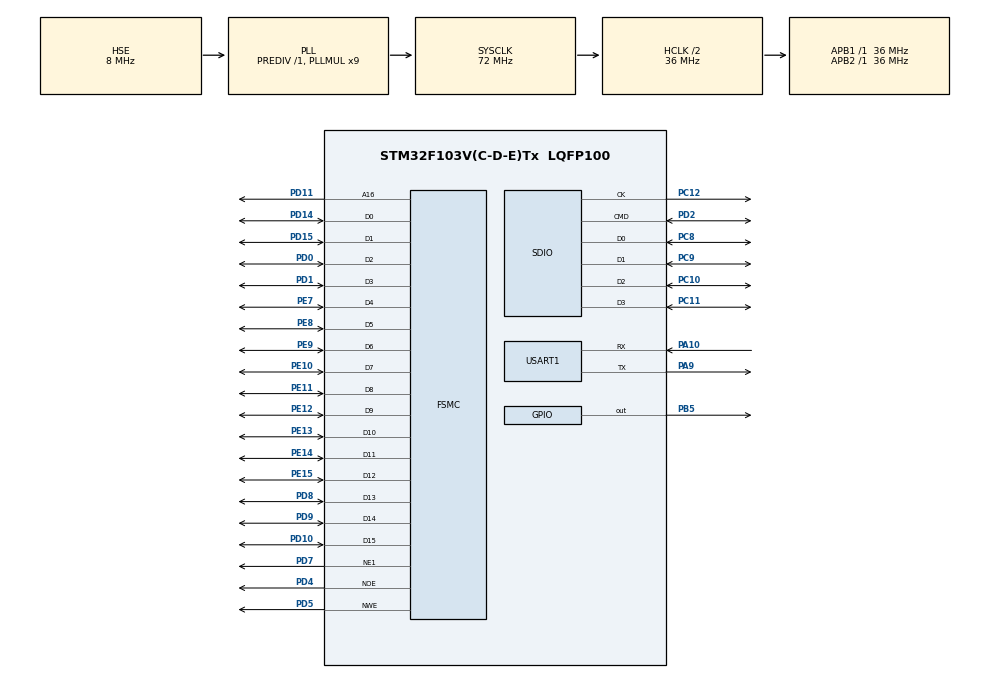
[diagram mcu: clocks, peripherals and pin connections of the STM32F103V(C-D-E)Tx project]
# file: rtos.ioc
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FATFS._CODE_PAGE=1252
FATFS._FS_NOFSINFO=3
FATFS._FS_TINY=0
FATFS._MAX_SS=2048
FATFS._MIN_SS=512
FATFS._USE_FASTSEEK=0
FREERTOS.Tasks01=defaultTask,0,128,StartDefaultTask,Default;TaskTFT,1,256,StartTaskTFT,Default;TaskFATFS,-3,1024,StartTaskFATFS,Default
FREERTOS.configTICK_RATE_HZ=100
FREERTOS.configTOTAL_HEAP_SIZE=40000
Mcu.Family=STM32F1
Mcu.Name=STM32F103V(C-D-E)Tx
Mcu.Package=LQFP100
NVIC.PriorityGroup=NVIC_PRIORITYGROUP_4
NVIC.RTC_IRQn=true\:5\:0\:false\:false\:true
NVIC.SDIO_IRQn=true\:5\:0\:false\:false\:true
NVIC.TIM7_IRQn=true\:0\:0\:false\:false\:true
NVIC.TimeBase=TIM7_IRQn
NVIC.TimeBaseIP=TIM7
NVIC.USART1_IRQn=true\:5\:0\:false\:false\:true
OSC_IN.Mode=HSE-External-Oscillator
OSC_IN.Signal=RCC_OSC_IN
OSC_OUT.Mode=HSE-External-Oscillator
OSC_OUT.Signal=RCC_OSC_OUT
PA10.Mode=Asynchronous
PA10.Signal=USART1_RX
PA9.Mode=Asynchronous
PA9.Signal=USART1_TX
PB5.Signal=GPIO_Output
PC10.Mode=SD_4_bits_Wide_bus
PC10.Signal=SDIO_D2
PC11.Mode=SD_4_bits_Wide_bus
PC11.Signal=SDIO_D3
PC12.Mode=SD_4_bits_Wide_bus
PC12.Signal=SDIO_CK
PC14-OSC32_IN.Mode=LSE-External-Oscillator
PC14-OSC32_IN.Signal=RCC_OSC32_IN
PC15-OSC32_OUT.Mode=LSE-External-Oscillator
PC15-OSC32_OUT.Signal=RCC_OSC32_OUT
PC8.Mode=SD_4_bits_Wide_bus
PC8.Signal=SDIO_D0
PC9.Mode=SD_4_bits_Wide_bus
PC9.Signal=SDIO_D1
PD0.Mode=16b-d1
PD0.Signal=FSMC_D2
PD1.Mode=16b-d1
PD1.Signal=FSMC_D3
PD10.Mode=16b-d1
PD10.Signal=FSMC_D15
PD11.Mode=A16_1
PD11.Signal=FSMC_A16
PD14.Mode=16b-d1
PD14.Signal=FSMC_D0
PD15.Mode=16b-d1
PD15.Signal=FSMC_D1
PD2.Mode=SD_4_bits_Wide_bus
PD2.Signal=SDIO_CMD
PD4.Mode=Lcd1
PD4.Signal=FSMC_NOE
PD5.Mode=Lcd1
PD5.Signal=FSMC_NWE
PD7.Mode=NorPsramChipSelect1_1
PD7.Signal=FSMC_NE1
PD8.Mode=16b-d1
PD8.Signal=FSMC_D13
PD9.Mode=16b-d1
PD9.Signal=FSMC_D14
PE10.Mode=16b-d1
PE10.Signal=FSMC_D7
PE11.Mode=16b-d1
PE11.Signal=FSMC_D8
PE12.Mode=16b-d1
PE12.Signal=FSMC_D9
PE13.Mode=16b-d1
PE13.Signal=FSMC_D10
PE14.Mode=16b-d1
PE14.Signal=FSMC_D11
PE15.Mode=16b-d1
PE15.Signal=FSMC_D12
PE7.Mode=16b-d1
PE7.Signal=FSMC_D4
PE8.Mode=16b-d1
PE8.Signal=FSMC_D5
PE9.Mode=16b-d1
PE9.Signal=FSMC_D6
ProjectManager.HeapSize=0x400
ProjectManager.StackSize=0x400
ProjectManager.TargetToolchain=MDK-ARM V5
RCC.AHBCLKDivider=RCC_SYSCLK_DIV2
RCC.AHBFreq_Value=36000000
RCC.APB1Freq_Value=36000000
RCC.APB1TimFreq_Value=36000000
RCC.APB2Freq_Value=36000000
RCC.APB2TimFreq_Value=36000000
RCC.HCLKFreq_Value=36000000
RCC.HSIState=RCC_HSI_ON
RCC.PLLMUL=RCC_PLL_MUL9
RCC.PLLSourceVirtual=RCC_PLLSOURCE_HSE
RCC.RTCClockSelection=RCC_RTCCLKSOURCE_LSE
RCC.SYSCLKFreq_VALUE=72000000
RCC.SYSCLKSource=RCC_SYSCLKSOURCE_PLLCLK
RCC.USBFreq_Value=72000000
RTC.AutoPrediv=RTC_AUTO_1_SECOND
SDIO.BusWide=SDIO_BUS_WIDE_1B
SDIO.ClockDiv=4
SDIO.WideMode=SDIO_BUS_WIDE_4B
VP_FATFS_VS_SDIO.Mode=SDIO
VP_FREERTOS_VS_ENABLE.Mode=Enabled
VP_RTC_No_RTC_Output.Mode=RTC_OUT_NO
VP_SYS_VS_tim7.Mode=TIM7
board=rtos

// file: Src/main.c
/**
  ******************************************************************************
  * File Name          : main.c
  * Description        : Main program body
  ******************************************************************************
  *
  * COPYRIGHT(c) 2016 STMicroelectronics
  *
  * Redistribution and use in source and binary forms, with or without modification,
  * are permitted provided that the following conditions are met:
  *   1. Redistributions of source code must retain the above copyright notice,
  *      this list of conditions and the following disclaimer.
  *   2. Redistributions in binary form must reproduce the above copyright notice,
  *      this list of conditions and the following disclaimer in the documentation
  *      and/or other materials provided with the distribution.
  *   3. Neither the name of STMicroelectronics nor the names of its contributors
  *      may be used to endorse or promote products derived from this software
  *      without specific prior written permission.
  *
  * THIS SOFTWARE IS PROVIDED BY THE COPYRIGHT HOLDERS AND CONTRIBUTORS "AS IS"
  * AND ANY EXPRESS OR IMPLIED WARRANTIES, INCLUDING, BUT NOT LIMITED TO, THE
  * IMPLIED WARRANTIES OF MERCHANTABILITY AND FITNESS FOR A PARTICULAR PURPOSE ARE
  * DISCLAIMED. IN NO EVENT SHALL THE COPYRIGHT HOLDER OR CONTRIBUTORS BE LIABLE
  * FOR ANY DIRECT, INDIRECT, INCIDENTAL, SPECIAL, EXEMPLARY, OR CONSEQUENTIAL
  * DAMAGES (INCLUDING, BUT NOT LIMITED TO, PROCUREMENT OF SUBSTITUTE GOODS OR
  * SERVICES; LOSS OF USE, DATA, OR PROFITS; OR BUSINESS INTERRUPTION) HOWEVER
  * CAUSED AND ON ANY THEORY OF LIABILITY, WHETHER IN CONTRACT, STRICT LIABILITY,
  * OR TORT (INCLUDING NEGLIGENCE OR OTHERWISE) ARISING IN ANY WAY OUT OF THE USE
  * OF THIS SOFTWARE, EVEN IF ADVISED OF THE POSSIBILITY OF SUCH DAMAGE.
  *
  ******************************************************************************
  */
#include "stm32f1xx_hal.h"
#include "cmsis_os.h"
#include "fatfs.h"

/* USER CODE BEGIN Includes */
#include "string.h"
#include "tft.h"

const int TSTWORD = 201;
/* USER CODE END Includes */

RTC_HandleTypeDef hrtc;

SD_HandleTypeDef hsd;
HAL_SD_CardInfoTypedef SDCardInfo;

UART_HandleTypeDef huart1;
SRAM_HandleTypeDef hsram1;
osThreadId defaultTaskHandle;
osThreadId TaskTFTHandle;
osThreadId TaskFATFSHandle;

/* USER CODE BEGIN PV */
/* Private variables ---------------------------------------------------------*/
static char gbuf[50];
/* USER CODE END PV */

void SystemClock_Config(void);
static void MX_GPIO_Init(void);
static void MX_USART1_UART_Init(void);
static void MX_RTC_Init(void);
static void MX_SDIO_SD_Init(void);
static void MX_FSMC_Init(void);
void StartDefaultTask(void const * argument);
void StartTaskTFT(void const * argument);
void StartTaskFATFS(void const * argument);

/* USER CODE BEGIN PFP */
/* Private function prototypes -----------------------------------------------*/

/* USER CODE END PFP */

/* USER CODE BEGIN 0 */
void HAL_RTCEx_RTCEventCallback(RTC_HandleTypeDef *hrtc){

  RTC_TimeTypeDef sTime;
  RTC_DateTypeDef sDate;
	static int day = 0;
HAL_RTC_GetDate(hrtc, &sDate, FORMAT_BIN);
HAL_RTC_GetTime(hrtc, &sTime, FORMAT_BIN);
	if(day != sDate.Date){
		day = sDate.Date;
		HAL_RTCEx_BKUPWrite(hrtc, RTC_BKP_DR2,sDate.Month);
		HAL_RTCEx_BKUPWrite(hrtc, RTC_BKP_DR3,sDate.Date);
		HAL_RTCEx_BKUPWrite(hrtc, RTC_BKP_DR4,sDate.Year);
	}

};

void MX_RTC_BACKUP_Init(void){

  RTC_TimeTypeDef sTime;
  RTC_DateTypeDef sDate;

	if(HAL_RTCEx_BKUPRead(&hrtc,RTC_BKP_DR1) != TSTWORD){
	HAL_RTCEx_BKUPWrite(&hrtc,RTC_BKP_DR1, TSTWORD);

  sTime.Hours = 22;
  sTime.Minutes = 02;
  sTime.Seconds = 00;
		sTime.

  HAL_RTC_SetTime(&hrtc, &sTime, RTC_FORMAT_BIN);

	sDate.WeekDay = RTC_WEEKDAY_FRIDAY;
  sDate.Month = RTC_MONTH_APRIL;
  sDate.Date = 23;
  sDate.Year = 16;

  HAL_RTC_SetDate(&hrtc, &sDate, RTC_FORMAT_BIN);

		HAL_RTCEx_BKUPWrite(&hrtc, RTC_BKP_DR2,sDate.Month);
		HAL_RTCEx_BKUPWrite(&hrtc, RTC_BKP_DR3,sDate.Date);
		HAL_RTCEx_BKUPWrite(&hrtc, RTC_BKP_DR4,sDate.Year);
} else {
		sDate.Month = HAL_RTCEx_BKUPRead(&hrtc, RTC_BKP_DR2);
		sDate.Date = HAL_RTCEx_BKUPRead(&hrtc, RTC_BKP_DR3);
		sDate.Year = HAL_RTCEx_BKUPRead(&hrtc, RTC_BKP_DR4);
  HAL_RTC_SetDate(&hrtc, &sDate, RTC_FORMAT_BIN);
}
}

/* USER CODE END 0 */

int main(void)
{

  /* MCU Configuration----------------------------------------------------------*/

  /* Reset of all peripherals, Initializes the Flash interface and the Systick. */
  HAL_Init();

  /* Configure the system clock */
  SystemClock_Config();

  /* Initialize all configured peripherals */
  MX_GPIO_Init();
  MX_USART1_UART_Init();
  MX_RTC_Init();
  MX_SDIO_SD_Init();
  MX_FSMC_Init();

  /* Create the thread(s) */
  /* definition and creation of defaultTask */
  osThreadDef(defaultTask, StartDefaultTask, osPriorityIdle, 0, 128);
  defaultTaskHandle = osThreadCreate(osThread(defaultTask), NULL);

  /* definition and creation of TaskTFT */
  osThreadDef(TaskTFT, StartTaskTFT, osPriorityHigh, 0, 256);
  TaskTFTHandle = osThreadCreate(osThread(TaskTFT), NULL);

  /* definition and creation of TaskFATFS */
  osThreadDef(TaskFATFS, StartTaskFATFS, osPriorityNormal, 0, 1024);
  TaskFATFSHandle = osThreadCreate(osThread(TaskFATFS), NULL);

  /* Start scheduler */
  osKernelStart();

  /* We should never get here as control is now taken by the scheduler */

  /* Infinite loop */
  while (1)
  {

  }

}

/** System Clock Configuration
*/
void SystemClock_Config(void)
{

  RCC_OscInitTypeDef RCC_OscInitStruct;
  RCC_ClkInitTypeDef RCC_ClkInitStruct;
  RCC_PeriphCLKInitTypeDef PeriphClkInit;

  RCC_OscInitStruct.OscillatorType = RCC_OSCILLATORTYPE_HSE|RCC_OSCILLATORTYPE_LSE;
  RCC_OscInitStruct.HSEState = RCC_HSE_ON;
  RCC_OscInitStruct.HSEPredivValue = RCC_HSE_PREDIV_DIV1;
  RCC_OscInitStruct.LSEState = RCC_LSE_ON;
  RCC_OscInitStruct.PLL.PLLState = RCC_PLL_ON;
  RCC_OscInitStruct.PLL.PLLSource = RCC_PLLSOURCE_HSE;
  RCC_OscInitStruct.PLL.PLLMUL = RCC_PLL_MUL9;
  HAL_RCC_OscConfig(&RCC_OscInitStruct);

  RCC_ClkInitStruct.ClockType = RCC_CLOCKTYPE_HCLK|RCC_CLOCKTYPE_SYSCLK
                              |RCC_CLOCKTYPE_PCLK1|RCC_CLOCKTYPE_PCLK2;
  RCC_ClkInitStruct.SYSCLKSource = RCC_SYSCLKSOURCE_PLLCLK;
  RCC_ClkInitStruct.AHBCLKDivider = RCC_SYSCLK_DIV2;
  RCC_ClkInitStruct.APB1CLKDivider = RCC_HCLK_DIV1;
  RCC_ClkInitStruct.APB2CLKDivider = RCC_HCLK_DIV1;
  HAL_RCC_ClockConfig(&RCC_ClkInitStruct, FLASH_LATENCY_1);

  PeriphClkInit.PeriphClockSelection = RCC_PERIPHCLK_RTC;
  PeriphClkInit.RTCClockSelection = RCC_RTCCLKSOURCE_LSE;
  HAL_RCCEx_PeriphCLKConfig(&PeriphClkInit);

  HAL_SYSTICK_Config(HAL_RCC_GetHCLKFreq()/1000);

  HAL_SYSTICK_CLKSourceConfig(SYSTICK_CLKSOURCE_HCLK);

  /* SysTick_IRQn interrupt configuration */
  HAL_NVIC_SetPriority(SysTick_IRQn, 15, 0);
}

/* RTC init function */
void MX_RTC_Init(void)
{

  RTC_TimeTypeDef sTime;
  RTC_DateTypeDef DateToUpdate;

    /**Initialize RTC and set the Time and Date
    */
  hrtc.Instance = RTC;
  hrtc.Init.AsynchPrediv = RTC_AUTO_1_SECOND;
  hrtc.Init.OutPut = RTC_OUTPUTSOURCE_NONE;
  HAL_RTC_Init(&hrtc);

  sTime.Hours = 0x1;
  sTime.Minutes = 0x0;
  sTime.Seconds = 0x0;

  HAL_RTC_SetTime(&hrtc, &sTime, RTC_FORMAT_BCD);

  DateToUpdate.WeekDay = RTC_WEEKDAY_MONDAY;
  DateToUpdate.Month = RTC_MONTH_JANUARY;
  DateToUpdate.Date = 0x1;
  DateToUpdate.Year = 0x0;

  HAL_RTC_SetDate(&hrtc, &DateToUpdate, RTC_FORMAT_BCD);

}

/* SDIO init function */
void MX_SDIO_SD_Init(void)
{

  hsd.Instance = SDIO;
  hsd.Init.ClockEdge = SDIO_CLOCK_EDGE_RISING;
  hsd.Init.ClockBypass = SDIO_CLOCK_BYPASS_DISABLE;
  hsd.Init.ClockPowerSave = SDIO_CLOCK_POWER_SAVE_DISABLE;
  hsd.Init.BusWide = SDIO_BUS_WIDE_1B;
  hsd.Init.HardwareFlowControl = SDIO_HARDWARE_FLOW_CONTROL_DISABLE;
  hsd.Init.ClockDiv = 4;

}

/* USART1 init function */
void MX_USART1_UART_Init(void)
{

  huart1.Instance = USART1;
  huart1.Init.BaudRate = 115200;
  huart1.Init.WordLength = UART_WORDLENGTH_8B;
  huart1.Init.StopBits = UART_STOPBITS_1;
  huart1.Init.Parity = UART_PARITY_NONE;
  huart1.Init.Mode = UART_MODE_TX_RX;
  huart1.Init.HwFlowCtl = UART_HWCONTROL_NONE;
  huart1.Init.OverSampling = UART_OVERSAMPLING_16;
  HAL_UART_Init(&huart1);

}

/** Configure pins as
        * Analog
        * Input
        * Output
        * EVENT_OUT
        * EXTI
*/
void MX_GPIO_Init(void)
{

  GPIO_InitTypeDef GPIO_InitStruct;

  /* GPIO Ports Clock Enable */
  __HAL_RCC_GPIOC_CLK_ENABLE();
  __HAL_RCC_GPIOE_CLK_ENABLE();
  __HAL_RCC_GPIOD_CLK_ENABLE();
  __HAL_RCC_GPIOA_CLK_ENABLE();
  __HAL_RCC_GPIOB_CLK_ENABLE();

  /*Configure GPIO pin Output Level */
  HAL_GPIO_WritePin(GPIOB, GPIO_PIN_5, GPIO_PIN_RESET);

  /*Configure GPIO pin : PB5 */
  GPIO_InitStruct.Pin = GPIO_PIN_5;
  GPIO_InitStruct.Mode = GPIO_MODE_OUTPUT_PP;
  GPIO_InitStruct.Speed = GPIO_SPEED_FREQ_LOW;
  HAL_GPIO_Init(GPIOB, &GPIO_InitStruct);

}

/* FSMC initialization function */
void MX_FSMC_Init(void)
{
  FSMC_NORSRAM_TimingTypeDef Timing;

  /** Perform the SRAM1 memory initialization sequence
  */
  hsram1.Instance = FSMC_NORSRAM_DEVICE;
  hsram1.Extended = FSMC_NORSRAM_EXTENDED_DEVICE;
  /* hsram1.Init */
  hsram1.Init.NSBank = FSMC_NORSRAM_BANK1;
  hsram1.Init.DataAddressMux = FSMC_DATA_ADDRESS_MUX_DISABLE;
  hsram1.Init.MemoryType = FSMC_MEMORY_TYPE_SRAM;
  hsram1.Init.MemoryDataWidth = FSMC_NORSRAM_MEM_BUS_WIDTH_16;
  hsram1.Init.BurstAccessMode = FSMC_BURST_ACCESS_MODE_DISABLE;
  hsram1.Init.WaitSignalPolarity = FSMC_WAIT_SIGNAL_POLARITY_LOW;
  hsram1.Init.WrapMode = FSMC_WRAP_MODE_DISABLE;
  hsram1.Init.WaitSignalActive = FSMC_WAIT_TIMING_BEFORE_WS;
  hsram1.Init.WriteOperation = FSMC_WRITE_OPERATION_ENABLE;
  hsram1.Init.WaitSignal = FSMC_WAIT_SIGNAL_DISABLE;
  hsram1.Init.ExtendedMode = FSMC_EXTENDED_MODE_DISABLE;
  hsram1.Init.AsynchronousWait = FSMC_ASYNCHRONOUS_WAIT_DISABLE;
  hsram1.Init.WriteBurst = FSMC_WRITE_BURST_DISABLE;
  /* Timing */
  Timing.AddressSetupTime = 15;
  Timing.AddressHoldTime = 15;
  Timing.DataSetupTime = 255;
  Timing.BusTurnAroundDuration = 15;
  Timing.CLKDivision = 16;
  Timing.DataLatency = 17;
  Timing.AccessMode = FSMC_ACCESS_MODE_A;
  /* ExtTiming */

  HAL_SRAM_Init(&hsram1, &Timing, NULL);

  /** Disconnect NADV
  */

  __HAL_AFIO_FSMCNADV_DISCONNECTED();

}

/* StartDefaultTask function */
void StartDefaultTask(void const * argument)
{
  /* init code for FATFS */
  MX_FATFS_Init();

  /* USER CODE BEGIN 5 */
uint8_t sec = 0;
RTC_TimeTypeDef	sTime;
RTC_DateTypeDef	sDate;
char buf[50];
	sprintf(buf, "idle run\r\n");
			HAL_UART_Transmit(&huart1,(uint8_t*)buf,strlen(buf),100);
  /* Infinite loop */
  for(;;)
  {
		HAL_RTC_GetDate(&hrtc, &sDate, FORMAT_BIN);
		HAL_RTC_GetTime(&hrtc, &sTime, FORMAT_BIN);
		//memset(buf,0,255);
		if(sec != sTime.Seconds){
			sec = sTime.Seconds;
		memset(buf,0,50);
		sprintf(buf, "Date: %02d/%02d/%02d Time: %02d:%02d:%02d\r\n\0", sDate.Date, sDate.Month,
		sDate.Year, sTime.Hours, sTime.Minutes, sTime.Seconds);
		HAL_UART_Transmit(&huart1,(uint8_t*)buf,strlen(buf),100);
		}
    osDelay(1000);
  }
  /* USER CODE END 5 */
}

/* StartTaskTFT function */
void StartTaskTFT(void const * argument)
{
  /* USER CODE BEGIN StartTaskTFT */
RTC_TimeTypeDef	sTime;
RTC_DateTypeDef	sDate;
char buf[100];

	sprintf(buf, "tft run\r\n");
			HAL_UART_Transmit(&huart1,(uint8_t*)buf,strlen(buf),100);
SSD1289_Init();
LCD_Clear(yellow);
	memset(buf,0,100);
  LCD_WriteString_5x7(20, 240 - 30, "Hello world.", red, yellow, 0, 1);
	LCD_WriteString_5x7(20, 240 - 30 - 20, "STM32F103VET6", green, yellow, 0, 1);
  /* Infinite loop */
  for(;;)
  {

		HAL_RTC_GetDate(&hrtc, &sDate, FORMAT_BIN);
		HAL_RTC_GetTime(&hrtc, &sTime, FORMAT_BIN);
		memset(buf,0,100);
		sprintf(buf, "Date: %02d/%02d/%02d", sDate.Date, sDate.Month, sDate.Year);
		LCD_WriteString_5x7(50,100, buf, magneta, yellow,0, 2);
		memset(buf,0,100);
		sprintf(buf, "Time: %02d:%02d:%02d", sTime.Hours, sTime.Minutes, sTime.Seconds);
		LCD_WriteString_5x7(50, 160, buf, magneta, yellow,0, 2);
		LCD_WriteString_5x7(50, 50, gbuf, green, yellow,0, 2);

    osDelay(500);
  }
  /* USER CODE END StartTaskTFT */
}

/* StartTaskFATFS function */
void StartTaskFATFS(void const * argument)
{
  /* USER CODE BEGIN StartTaskFATFS */
  /* Infinite loop */
	UINT count = 0;
uint32_t i = 1;
static	FATFS fileSystem;
static	FIL testFile;
	FRESULT res = FR_OK;
	char buf[100];
	sprintf(gbuf, "fat run");
			//HAL_UART_Transmit(&huart1,(uint8_t*)buf,strlen(buf),100);

	do{
	osDelay(1000);
//	sprintf(SD_Path,"0:/\0");
	res = f_mount(&fileSystem, SD_Path, 1);
		sprintf(gbuf, "fat mnt %i",res);

    osDelay(1000);
	//HAL_UART_Transmit(&huart1,(uint8_t*)buf,strlen(buf),100);

	/*if(res == FR_NO_FILESYSTEM){
		res = f_mkfs("", 0, 0);
		sprintf(gbuf, "fat mkfs %i",res);

    osDelay(1000);
		//HAL_UART_Transmit(&huart1,(uint8_t*)buf,strlen(buf),100);

		res = f_mount(&fileSystem, SD_Path, 1);
		sprintf(gbuf, "fat mnt %i",res);

    osDelay(1000);
	//HAL_UART_Transmit(&huart1,(uint8_t*)buf,strlen(buf),100);

}*/
	}while (res!= FR_OK);

			HAL_UART_Transmit(&huart1,(uint8_t*)buf,strlen(buf),100);
  res = f_open(&testFile, "testfile.txt", FA_OPEN_ALWAYS | FA_READ |FA_WRITE );
			sprintf(gbuf, "fat open %i",res);

    osDelay(1000);
			//HAL_UART_Transmit(&huart1,(uint8_t*)buf,strlen(buf),100);
	/*uint16_t tmp = f_size(&testFile);
	f_lseek(&testFile, tmp);
			*/
	for(;;)
  {
		//if(i > 100000) vTaskDelete(TaskFATFSHandle);
		if(i%100 == 0){
			sprintf(&gbuf[9], "fat wr %i", i);

    osDelay(1000);
			//HAL_UART_Transmit(&huart1,(uint8_t*)buf,strlen(buf),100);
		}
		memset(buf,0,100);
		sprintf(buf, "%lu\r\n", i++);
    res = f_write(&testFile, buf, strlen(buf), &count);
		if( res != FR_OK) break;
		f_sync(&testFile);
    //f_close(&testFile);
    osDelay(10);
  }
  /* USER CODE END StartTaskFATFS */
}

/************************ (C) COPYRIGHT STMicroelectronics *****END OF FILE****/
